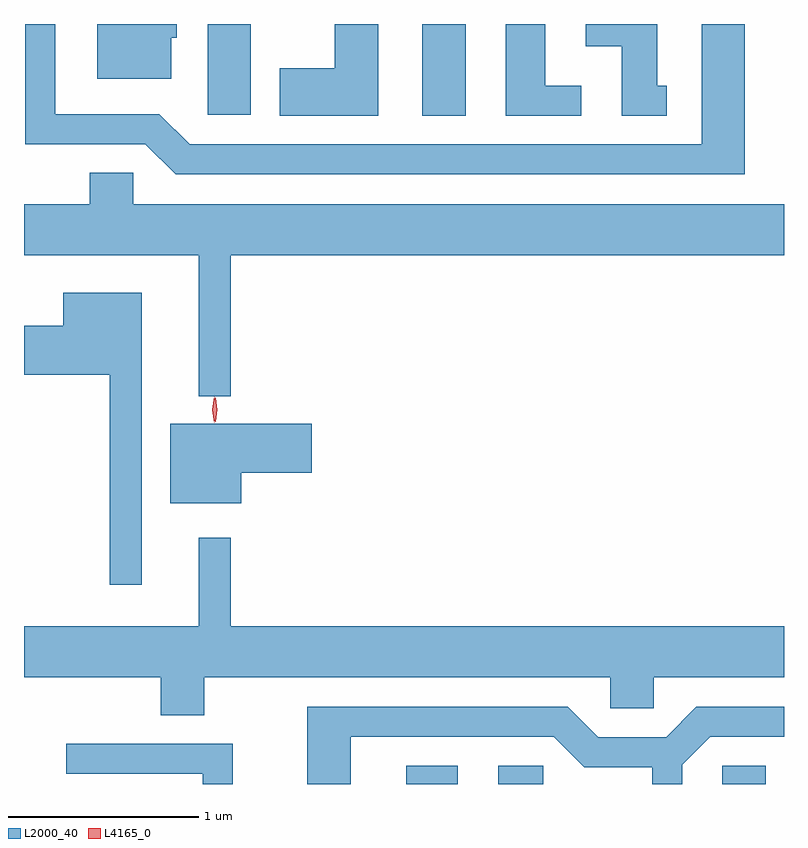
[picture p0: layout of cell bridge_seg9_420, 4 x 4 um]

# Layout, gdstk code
import gdstk
lib = gdstk.Library(unit=1e-6, precision=1e-09)
def R(c, l, rs):  # rectangles x0, y0, x1, y1
    for r in rs: c.add(gdstk.rectangle(r[:2], r[2:], *l))
def P(c, l, *ps):  # polygons
    for p in ps: c.add(gdstk.Polygon(p, *l))
L2000_40 = (2000, 40)
L4165_0 = (4165, 0)

bridge_seg9_420 = lib.new_cell('bridge_seg9_420')
R(bridge_seg9_420, L2000_40, [(241.151,2035.653,241.423,2035.749), (241.636,2035.653,241.873,2035.749), (242.816,2035.653,243.044,2035.749), (241.236,2039.171,241.464,2039.653), (240.106,2039.176,240.334,2039.653)])
P(bridge_seg9_420, L2000_40, [(242.934,2039.653),(242.706,2039.653),(242.706,2039.019),(240.012,2039.019),(239.852,2039.179),(239.304,2039.179),(239.304,2039.653),(239.146,2039.653),(239.146,2039.021),(239.779,2039.021),(239.939,2038.861),(242.934,2038.861)],
  [(242.523,2039.329),(242.474,2039.329),(242.474,2039.653),(242.096,2039.653),(242.096,2039.536),(242.286,2039.536),(242.286,2039.171),(242.523,2039.171)],
  [(242.073,2039.329),(241.884,2039.329),(241.884,2039.653),(241.676,2039.653),(241.676,2039.171),(242.073,2039.171)],
  [(241.004,2039.653),(240.776,2039.653),(240.776,2039.419),(240.486,2039.419),(240.486,2039.171),(241.004,2039.171)],
  [(239.914,2039.581),(239.944,2039.581),(239.944,2039.653),(239.526,2039.653),(239.526,2039.366),(239.914,2039.366)],
  [(240.229,2038.436),(243.14,2038.436),(243.14,2038.704),(239.714,2038.704),(239.714,2038.869),(239.486,2038.869),(239.486,2038.704),(239.14,2038.704),(239.14,2038.436),(240.061,2038.436),(240.061,2037.693),(240.229,2037.693)],
  [(239.759,2038.239),(239.346,2038.239),(239.346,2038.064),(239.14,2038.064),(239.14,2037.806),(239.591,2037.806),(239.591,2036.703),(239.759,2036.703)],
  [(240.284,2037.291),(240.654,2037.291),(240.654,2037.549),(239.911,2037.549),(239.911,2037.131),(240.284,2037.131)],
  [(240.089,2036.216),(242.226,2036.216),(242.226,2036.051),(242.454,2036.051),(242.454,2036.216),(243.14,2036.216),(243.14,2036.484),(240.229,2036.484),(240.229,2036.948),(240.061,2036.948),(240.061,2036.484),(239.14,2036.484),(239.14,2036.216),(239.861,2036.216),(239.861,2036.016),(240.089,2036.016)],
  [(240.859,2035.901),(241.929,2035.901),(242.089,2035.741),(242.446,2035.741),(242.446,2035.653),(242.604,2035.653),(242.604,2035.754),(242.752,2035.901),(243.14,2035.901),(243.14,2036.059),(242.679,2036.059),(242.519,2035.899),(242.162,2035.899),(242.002,2036.059),(240.631,2036.059),(240.631,2035.653),(240.859,2035.653)],
  [(240.239,2035.864),(239.363,2035.864),(239.363,2035.706),(240.081,2035.706),(240.081,2035.653),(240.239,2035.653)])
P(bridge_seg9_420, L4165_0, [(240.14,2037.554),(240.14,2037.554),(240.131,2037.622),(240.141,2037.69),(240.142,2037.69),(240.142,2037.69),(240.151,2037.622),(240.141,2037.554)],
  [(240.147,2037.56),(240.147,2037.56),(240.138,2037.624),(240.147,2037.686),(240.147,2037.687),(240.148,2037.686),(240.157,2037.624),(240.148,2037.56)])

lib.write_gds('bridge_seg9_420.gds')
